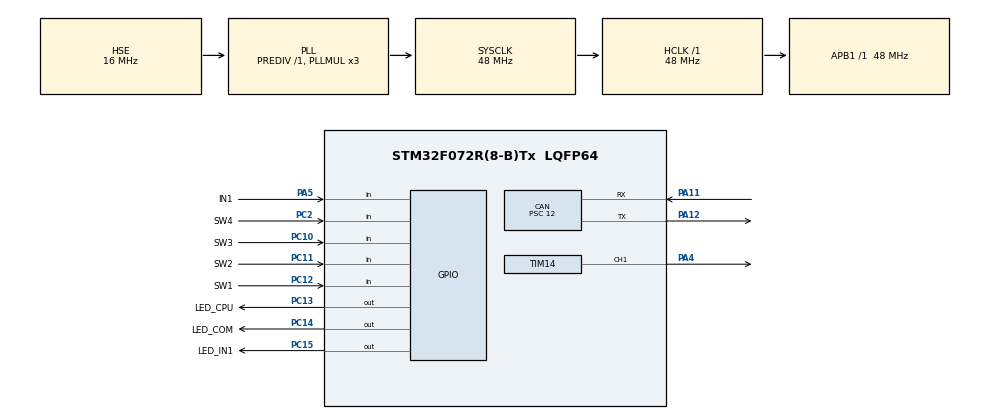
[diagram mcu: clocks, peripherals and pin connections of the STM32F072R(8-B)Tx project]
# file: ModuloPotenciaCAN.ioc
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CAN.BS1=CAN_BS1_13TQ
CAN.BS2=CAN_BS2_2TQ
CAN.CalculateBaudRate=250000
CAN.CalculateTimeBit=4000
CAN.CalculateTimeQuantum=250.0
CAN.NART=ENABLE
CAN.Prescaler=12
IWDG.Prescaler=IWDG_PRESCALER_64
Mcu.Family=STM32F0
Mcu.Name=STM32F072R(8-B)Tx
Mcu.Package=LQFP64
NVIC.CEC_CAN_IRQn=true\:0\:0\:false\:false\:true\:true\:true\:true
NVIC.TIM3_IRQn=true\:0\:0\:false\:false\:true\:true\:true\:true
NVIC.TIM6_DAC_IRQn=true\:0\:0\:false\:false\:true\:true\:true\:true
PA11.Mode=CAN_Activate
PA11.Signal=CAN_RX
PA12.Mode=CAN_Activate
PA12.Signal=CAN_TX
PA13.Mode=Serial_Wire
PA13.Signal=SYS_SWDIO
PA14.Mode=Serial_Wire
PA14.Signal=SYS_SWCLK
PA4.Signal=S_TIM14_CH1
PA5.GPIO_Label=IN1
PA5.GPIO_PuPd=GPIO_PULLUP
PA5.Signal=GPIO_Input
PC10.GPIO_Label=SW3
PC10.GPIO_PuPd=GPIO_PULLUP
PC10.Signal=GPIO_Input
PC11.GPIO_Label=SW2
PC11.GPIO_PuPd=GPIO_PULLUP
PC11.Signal=GPIO_Input
PC12.GPIO_Label=SW1
PC12.GPIO_PuPd=GPIO_PULLUP
PC12.Signal=GPIO_Input
PC13.GPIO_Label=LED_CPU
PC13.Signal=GPIO_Output
PC14-OSC32_IN.GPIO_Label=LED_COM
PC14-OSC32_IN.Signal=GPIO_Output
PC15-OSC32_OUT.GPIO_Label=LED_IN1
PC15-OSC32_OUT.Signal=GPIO_Output
PC2.GPIO_Label=SW4
PC2.GPIO_PuPd=GPIO_PULLUP
PC2.Signal=GPIO_Input
PF0-OSC_IN.Mode=HSE-External-Oscillator
PF0-OSC_IN.Signal=RCC_OSC_IN
PF1-OSC_OUT.Mode=HSE-External-Oscillator
PF1-OSC_OUT.Signal=RCC_OSC_OUT
ProjectManager.HeapSize=0x200
ProjectManager.StackSize=0x400
ProjectManager.TargetToolchain=STM32CubeIDE
RCC.AHBFreq_Value=48000000
RCC.APB1Freq_Value=48000000
RCC.APB1TimFreq_Value=48000000
RCC.HCLKFreq_Value=48000000
RCC.HSE_VALUE=16000000
RCC.PLLMUL=RCC_PLL_MUL3
RCC.PLLSourceVirtual=RCC_PLLSOURCE_HSE
RCC.SYSCLKFreq_VALUE=48000000
RCC.SYSCLKSource=RCC_SYSCLKSOURCE_PLLCLK
SH.S_TIM14_CH1.0=TIM14_CH1,PWM Generation1 CH1
TIM14.Channel=TIM_CHANNEL_1
TIM14.Period=4096-1
TIM14.Prescaler=2-1
TIM2.Prescaler=48-1
TIM3.Period=10-1
TIM3.Prescaler=480-1
TIM6.Period=10-1
TIM6.Prescaler=4800-1
VP_IWDG_VS_IWDG.Mode=IWDG_Activate
VP_TIM14_VS_ClockSourceINT.Mode=Enable_Timer
VP_TIM2_VS_ClockSourceINT.Mode=Internal
VP_TIM3_VS_ClockSourceINT.Mode=Internal
VP_TIM6_VS_ClockSourceINT.Mode=Enable_Timer
board=custom

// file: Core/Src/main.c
/* USER CODE BEGIN Header */
/**
  ******************************************************************************
  * @file           : main.c
  * @brief          : Main program body
  ******************************************************************************
  * @attention
  *
  * Copyright (c) 2025 STMicroelectronics.
  * All rights reserved.
  *
  * This software is licensed under terms that can be found in the LICENSE file
  * in the root directory of this software component.
  * If no LICENSE file comes with this software, it is provided AS-IS.
  *
  ******************************************************************************
  */
/* USER CODE END Header */
#include "main.h"

/* USER CODE BEGIN Includes */
#include "global.h"
/* USER CODE END Includes */

CAN_HandleTypeDef hcan;

IWDG_HandleTypeDef hiwdg;

TIM_HandleTypeDef htim2;
TIM_HandleTypeDef htim3;
TIM_HandleTypeDef htim6;
TIM_HandleTypeDef htim14;

/* USER CODE BEGIN PV */

CAN_TxHeaderTypeDef	canTxHeader;
CAN_RxHeaderTypeDef	canRxHeader;

uint8_t
	flagPacoteCAN = false,
	flagEnviaPacoteCAN = false,
	flagLedCOM = false,

	flagMotorLigado = false,
	flagAtualizaMotor = false;

uint8_t
	enderecoModulo = ENDERECO_MODULO_PADRAO,
	contadorEnviaCAN = 0;

uint16_t
	valorMotor = 0,
	contadorTimeoutAtualizacao = 0,
	rpmMotor = 0;

uint32_t
	canTxMailbox;

uint8_t
	canTxBuffer[8],
	canRxBuffer[8];

/* USER CODE END PV */

void SystemClock_Config(void);
static void MX_GPIO_Init(void);
static void MX_CAN_Init(void);
static void MX_IWDG_Init(void);
static void MX_TIM2_Init(void);
static void MX_TIM3_Init(void);
static void MX_TIM14_Init(void);
static void MX_TIM6_Init(void);

/* USER CODE BEGIN 0 */
void HAL_CAN_RxFifo0MsgPendingCallback(CAN_HandleTypeDef *hCan) {
	if(hCan == &hcan) {
		HAL_CAN_GetRxMessage(&hcan, CAN_RX_FIFO0, &canRxHeader, canRxBuffer);
		flagPacoteCAN = true;
	}
}

void HAL_TIM_PeriodElapsedCallback(TIM_HandleTypeDef *htim) {
	if(htim == &htim3) {
		schedulerEngine();
	}

	if(htim == &htim6) {
		leituraEntradaPulsos();
	}
}

void delayMicro(uint32_t tempo) {
	__HAL_TIM_SET_COUNTER(&htim2, 0);
	while(__HAL_TIM_GET_COUNTER(&htim2) < tempo) {
	}
}

void reiniciaWatchDog() {
	HAL_IWDG_Refresh(&hiwdg);
}

void atualizaPWM(uint16_t carga) {
	__HAL_TIM_SET_COMPARE(&htim14, TIM_CHANNEL_1, carga);
}

/* USER CODE END 0 */

int main(void)
{

  /* MCU Configuration--------------------------------------------------------*/

  /* Reset of all peripherals, Initializes the Flash interface and the Systick. */
  HAL_Init();

  /* Configure the system clock */
  SystemClock_Config();

  /* Initialize all configured peripherals */
  MX_GPIO_Init();
  MX_CAN_Init();
  MX_IWDG_Init();
  MX_TIM2_Init();
  MX_TIM3_Init();
  MX_TIM14_Init();
  MX_TIM6_Init();
  /* USER CODE BEGIN 2 */
  HAL_TIM_Base_Start(&htim2); //Timer do delay us
  HAL_TIM_Base_Start_IT(&htim3); //Timer do Scheduller
  HAL_TIM_Base_Start_IT(&htim6); //Timer do Leitor de Pulsos
  HAL_TIM_PWM_Start(&htim14, TIM_CHANNEL_1); //Timer da PWM

  HAL_CAN_Start(&hcan);
  HAL_CAN_ActivateNotification(&hcan, CAN_IT_RX_FIFO0_MSG_PENDING);
  //Alterações no CAN INIT

  atualizaPWM(0);
  leituraDipSwitch();

  /* USER CODE END 2 */

  /* Infinite loop */
  /* USER CODE BEGIN WHILE */
  while (1)
  {
	  atualizaMotor();
	  recebePacoteCAN();
	  enviaPacoteCAN();
    /* USER CODE END WHILE */

  }
}

void SystemClock_Config(void)
{
  RCC_OscInitTypeDef RCC_OscInitStruct = {0};
  RCC_ClkInitTypeDef RCC_ClkInitStruct = {0};

  /** Initializes the RCC Oscillators according to the specified parameters
  * in the RCC_OscInitTypeDef structure.
  */
  RCC_OscInitStruct.OscillatorType = RCC_OSCILLATORTYPE_LSI|RCC_OSCILLATORTYPE_HSE;
  RCC_OscInitStruct.HSEState = RCC_HSE_ON;
  RCC_OscInitStruct.LSIState = RCC_LSI_ON;
  RCC_OscInitStruct.PLL.PLLState = RCC_PLL_ON;
  RCC_OscInitStruct.PLL.PLLSource = RCC_PLLSOURCE_HSE;
  RCC_OscInitStruct.PLL.PLLMUL = RCC_PLL_MUL3;
  RCC_OscInitStruct.PLL.PREDIV = RCC_PREDIV_DIV1;
  if (HAL_RCC_OscConfig(&RCC_OscInitStruct) != HAL_OK)
  {
    Error_Handler();
  }

  /** Initializes the CPU, AHB and APB buses clocks
  */
  RCC_ClkInitStruct.ClockType = RCC_CLOCKTYPE_HCLK|RCC_CLOCKTYPE_SYSCLK
                              |RCC_CLOCKTYPE_PCLK1;
  RCC_ClkInitStruct.SYSCLKSource = RCC_SYSCLKSOURCE_PLLCLK;
  RCC_ClkInitStruct.AHBCLKDivider = RCC_SYSCLK_DIV1;
  RCC_ClkInitStruct.APB1CLKDivider = RCC_HCLK_DIV1;

  if (HAL_RCC_ClockConfig(&RCC_ClkInitStruct, FLASH_LATENCY_1) != HAL_OK)
  {
    Error_Handler();
  }
}

static void MX_CAN_Init(void)
{

  /* USER CODE BEGIN CAN_Init 0 */
	//calculo da configuração de velocidade
	//http://www.bittiming.can-wiki.info/
	//Selecionar ST e colocar a velocidade do clock (do APB1 ou do barramento correspondente a CAN)
	//gerar tabela e pegar os calores de prescaler, seg1 e seg2
	CAN_FilterTypeDef  sFilterConfig; //Inserido

	//hcan.Init.AutoRetransmission = ENABLE; --> Deve estar em ENABLE

  /* USER CODE END CAN_Init 0 */

  hcan.Instance = CAN;
  hcan.Init.Prescaler = 12;
  hcan.Init.Mode = CAN_MODE_NORMAL;
  hcan.Init.SyncJumpWidth = CAN_SJW_1TQ;
  hcan.Init.TimeSeg1 = CAN_BS1_13TQ;
  hcan.Init.TimeSeg2 = CAN_BS2_2TQ;
  hcan.Init.TimeTriggeredMode = DISABLE;
  hcan.Init.AutoBusOff = DISABLE;
  hcan.Init.AutoWakeUp = DISABLE;
  hcan.Init.AutoRetransmission = ENABLE;
  hcan.Init.ReceiveFifoLocked = DISABLE;
  hcan.Init.TransmitFifoPriority = DISABLE;
  if (HAL_CAN_Init(&hcan) != HAL_OK)
  {
    Error_Handler();
  }
  /* USER CODE BEGIN CAN_Init 2 */

  //Inserido abaixo

  sFilterConfig.FilterBank = 0;
  sFilterConfig.FilterMode = CAN_FILTERMODE_IDMASK;
  sFilterConfig.FilterScale = CAN_FILTERSCALE_32BIT;
  sFilterConfig.FilterIdHigh = 0x0000;
  sFilterConfig.FilterIdLow = 0x0000;
  sFilterConfig.FilterMaskIdHigh = 0x0000;
  sFilterConfig.FilterMaskIdLow = 0x0000;
  sFilterConfig.FilterFIFOAssignment = CAN_RX_FIFO0;
  sFilterConfig.FilterActivation = ENABLE;
  sFilterConfig.SlaveStartFilterBank = 14;

  if(HAL_CAN_ConfigFilter(&hcan, &sFilterConfig) != HAL_OK) {
	  Error_Handler();
  }

  if(HAL_CAN_Start(&hcan) != HAL_OK) {
	  Error_Handler();
  }

  /* USER CODE END CAN_Init 2 */

}

static void MX_IWDG_Init(void)
{

  hiwdg.Instance = IWDG;
  hiwdg.Init.Prescaler = IWDG_PRESCALER_64;
  hiwdg.Init.Window = 4095;
  hiwdg.Init.Reload = 4095;
  if (HAL_IWDG_Init(&hiwdg) != HAL_OK)
  {
    Error_Handler();
  }

}

static void MX_TIM2_Init(void)
{

  TIM_ClockConfigTypeDef sClockSourceConfig = {0};
  TIM_MasterConfigTypeDef sMasterConfig = {0};

  htim2.Instance = TIM2;
  htim2.Init.Prescaler = 48-1;
  htim2.Init.CounterMode = TIM_COUNTERMODE_UP;
  htim2.Init.Period = 4294967295;
  htim2.Init.ClockDivision = TIM_CLOCKDIVISION_DIV1;
  htim2.Init.AutoReloadPreload = TIM_AUTORELOAD_PRELOAD_DISABLE;
  if (HAL_TIM_Base_Init(&htim2) != HAL_OK)
  {
    Error_Handler();
  }
  sClockSourceConfig.ClockSource = TIM_CLOCKSOURCE_INTERNAL;
  if (HAL_TIM_ConfigClockSource(&htim2, &sClockSourceConfig) != HAL_OK)
  {
    Error_Handler();
  }
  sMasterConfig.MasterOutputTrigger = TIM_TRGO_RESET;
  sMasterConfig.MasterSlaveMode = TIM_MASTERSLAVEMODE_DISABLE;
  if (HAL_TIMEx_MasterConfigSynchronization(&htim2, &sMasterConfig) != HAL_OK)
  {
    Error_Handler();
  }

}

static void MX_TIM3_Init(void)
{

  TIM_ClockConfigTypeDef sClockSourceConfig = {0};
  TIM_MasterConfigTypeDef sMasterConfig = {0};

  htim3.Instance = TIM3;
  htim3.Init.Prescaler = 480-1;
  htim3.Init.CounterMode = TIM_COUNTERMODE_UP;
  htim3.Init.Period = 10-1;
  htim3.Init.ClockDivision = TIM_CLOCKDIVISION_DIV1;
  htim3.Init.AutoReloadPreload = TIM_AUTORELOAD_PRELOAD_DISABLE;
  if (HAL_TIM_Base_Init(&htim3) != HAL_OK)
  {
    Error_Handler();
  }
  sClockSourceConfig.ClockSource = TIM_CLOCKSOURCE_INTERNAL;
  if (HAL_TIM_ConfigClockSource(&htim3, &sClockSourceConfig) != HAL_OK)
  {
    Error_Handler();
  }
  sMasterConfig.MasterOutputTrigger = TIM_TRGO_RESET;
  sMasterConfig.MasterSlaveMode = TIM_MASTERSLAVEMODE_DISABLE;
  if (HAL_TIMEx_MasterConfigSynchronization(&htim3, &sMasterConfig) != HAL_OK)
  {
    Error_Handler();
  }

}

static void MX_TIM6_Init(void)
{

  TIM_MasterConfigTypeDef sMasterConfig = {0};

  htim6.Instance = TIM6;
  htim6.Init.Prescaler = 4800-1;
  htim6.Init.CounterMode = TIM_COUNTERMODE_UP;
  htim6.Init.Period = 10-1;
  htim6.Init.AutoReloadPreload = TIM_AUTORELOAD_PRELOAD_DISABLE;
  if (HAL_TIM_Base_Init(&htim6) != HAL_OK)
  {
    Error_Handler();
  }
  sMasterConfig.MasterOutputTrigger = TIM_TRGO_RESET;
  sMasterConfig.MasterSlaveMode = TIM_MASTERSLAVEMODE_DISABLE;
  if (HAL_TIMEx_MasterConfigSynchronization(&htim6, &sMasterConfig) != HAL_OK)
  {
    Error_Handler();
  }

}

static void MX_TIM14_Init(void)
{

  TIM_OC_InitTypeDef sConfigOC = {0};

  htim14.Instance = TIM14;
  htim14.Init.Prescaler = 2-1;
  htim14.Init.CounterMode = TIM_COUNTERMODE_UP;
  htim14.Init.Period = 4096-1;
  htim14.Init.ClockDivision = TIM_CLOCKDIVISION_DIV1;
  htim14.Init.AutoReloadPreload = TIM_AUTORELOAD_PRELOAD_DISABLE;
  if (HAL_TIM_Base_Init(&htim14) != HAL_OK)
  {
    Error_Handler();
  }
  if (HAL_TIM_PWM_Init(&htim14) != HAL_OK)
  {
    Error_Handler();
  }
  sConfigOC.OCMode = TIM_OCMODE_PWM1;
  sConfigOC.Pulse = 0;
  sConfigOC.OCPolarity = TIM_OCPOLARITY_HIGH;
  sConfigOC.OCFastMode = TIM_OCFAST_DISABLE;
  if (HAL_TIM_PWM_ConfigChannel(&htim14, &sConfigOC, TIM_CHANNEL_1) != HAL_OK)
  {
    Error_Handler();
  }
  HAL_TIM_MspPostInit(&htim14);

}

static void MX_GPIO_Init(void)
{
  GPIO_InitTypeDef GPIO_InitStruct = {0};

  /* GPIO Ports Clock Enable */
  __HAL_RCC_GPIOC_CLK_ENABLE();
  __HAL_RCC_GPIOF_CLK_ENABLE();
  __HAL_RCC_GPIOA_CLK_ENABLE();

  /*Configure GPIO pin Output Level */
  HAL_GPIO_WritePin(GPIOC, LED_CPU_Pin|LED_COM_Pin|LED_IN1_Pin, GPIO_PIN_RESET);

  /*Configure GPIO pins : LED_CPU_Pin LED_COM_Pin LED_IN1_Pin */
  GPIO_InitStruct.Pin = LED_CPU_Pin|LED_COM_Pin|LED_IN1_Pin;
  GPIO_InitStruct.Mode = GPIO_MODE_OUTPUT_PP;
  GPIO_InitStruct.Pull = GPIO_NOPULL;
  GPIO_InitStruct.Speed = GPIO_SPEED_FREQ_LOW;
  HAL_GPIO_Init(GPIOC, &GPIO_InitStruct);

  /*Configure GPIO pins : SW4_Pin SW3_Pin SW2_Pin SW1_Pin */
  GPIO_InitStruct.Pin = SW4_Pin|SW3_Pin|SW2_Pin|SW1_Pin;
  GPIO_InitStruct.Mode = GPIO_MODE_INPUT;
  GPIO_InitStruct.Pull = GPIO_PULLUP;
  HAL_GPIO_Init(GPIOC, &GPIO_InitStruct);

  /*Configure GPIO pin : IN1_Pin */
  GPIO_InitStruct.Pin = IN1_Pin;
  GPIO_InitStruct.Mode = GPIO_MODE_INPUT;
  GPIO_InitStruct.Pull = GPIO_PULLUP;
  HAL_GPIO_Init(IN1_GPIO_Port, &GPIO_InitStruct);

}

void Error_Handler(void)
{
  __disable_irq();
  while (1)
  {
  }
}
